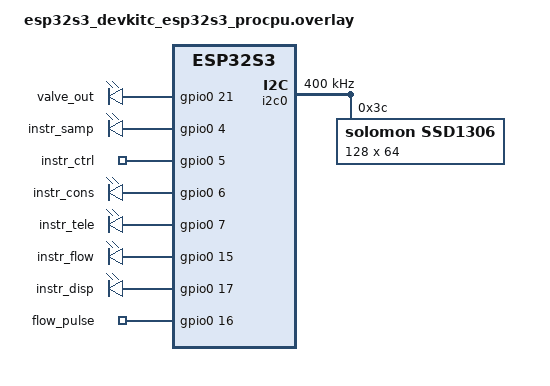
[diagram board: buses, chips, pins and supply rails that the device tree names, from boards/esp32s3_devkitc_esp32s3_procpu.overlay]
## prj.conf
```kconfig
CONFIG_GPIO=y
CONFIG_ADC=y
CONFIG_SERIAL=y
CONFIG_CONSOLE=y
CONFIG_UART_CONSOLE=y
CONFIG_MAIN_STACK_SIZE=1536
CONFIG_IDLE_STACK_SIZE=256
CONFIG_ISR_STACK_SIZE=512
CONFIG_SYSTEM_WORKQUEUE_STACK_SIZE=512

# Week 4 Task D: per-thread stack high-water marks, printed by the `threads` command
CONFIG_THREAD_NAME=y
CONFIG_THREAD_ANALYZER=y
CONFIG_THREAD_ANALYZER_USE_PRINTK=y
```

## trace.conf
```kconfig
# Week 5 tracing demo: CTF out of the UART jack, started by the capture script.
#   west build ... -- -DEXTRA_CONF_FILE=trace.conf -DEXTRA_DTC_OVERLAY_FILE=uart_trace.overlay
CONFIG_TRACING=y
CONFIG_TRACING_CTF=y
CONFIG_TRACING_BACKEND_UART=y
CONFIG_TRACING_HANDLE_HOST_CMD=y
# Fits the trace under the 4 Mbaud link (≈ 0.37 of its 0.39 MB/s); a k_msgq call
# still shows as the ready or pend it causes.
CONFIG_TRACING_SYSCALL=n
CONFIG_TRACING_TIMER=n
CONFIG_TRACING_MESSAGE_QUEUE=n
CONFIG_TRACING_IDLE=n
# The defaults drain 100 ms after the first event into a 2 KB buffer: at this node's
# rate that keeps one 4 ms slice in every 100 ms. 32 KB holds the first ≈ 75 ms of
# a calib, while the lowest-priority tracer can't drain (65536 streams nothing).
CONFIG_TRACING_THREAD_WAIT_THRESHOLD=1
CONFIG_TRACING_BUFFER_SIZE=32768
```

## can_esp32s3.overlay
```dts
/*
 * CAN (TWAI) link to the Hub, project weeks 11-14. The board's default TWAI pins
 * (GPIO5/6) are instr_ctrl and instr_cons, so CAN moves to GPIO10 (TX) and
 * GPIO11 (RX), wired to an SN65HVD230 transceiver.
 */

#include <zephyr/dt-bindings/pinctrl/esp32s3-pinctrl.h>

&pinctrl {
	twai_hub: twai_hub {
		group1 {
			pinmux = <TWAI_TX_GPIO10>,
				 <TWAI_RX_GPIO11>;
		};
	};
};

&twai {
	status = "okay";
	pinctrl-0 = <&twai_hub>;
	pinctrl-names = "default";
	bitrate = <500000>;
};
```

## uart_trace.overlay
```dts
/*
 * Week 5 tracing: the CTF stream leaves through the UART jack and the console moves
 * to the USB jack. The USB jack is the S3's USB-Serial-JTAG, whose driver sends one
 * byte per USB packet: about 60 KiB/s, an eighth of what this node's trace needs.
 */

/ {
	chosen {
		zephyr,console = &usb_serial;
		zephyr,shell-uart = &usb_serial;
		zephyr,tracing-uart = &uart0;
	};
};

&usb_serial {
	status = "okay";
};

/* 80 MHz / 20. A CP2102N bridge (the UART jack shows as /dev/ttyUSB*) stops at 3000000. */
&uart0 {
	current-speed = <4000000>;
};
```

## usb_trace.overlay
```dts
/*
 * Tracing goes out the devkit's USB jack (USB-Serial-JTAG, /dev/ttyACM0); the
 * console stays on the UART jack. uart1 is no alternative: the board routes its
 * TX to GPIO17, which is instr_disp.
 */

/ {
	chosen {
		zephyr,tracing-uart = &usb_serial;
	};
};

&usb_serial {
	status = "okay";
};
```

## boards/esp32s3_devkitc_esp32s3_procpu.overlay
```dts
/*
 * ESP32-S3-DevKitC-1 pin map. Only hardware description changes; the C does not.
 *
 * The six instrumentation pins sit together on the header so an 8-channel
 * analyzer ribbon clips on in one go.
 *
 * Pressure comes from the synthetic plant until the pot is wired: build with
 * -DEXTRA_DTC_OVERLAY_FILE=pot_esp32s3.overlay to read it from ADC1 instead.
 */

#include <zephyr/dt-bindings/gpio/gpio.h>
#include <zephyr/dt-bindings/i2c/i2c.h>

/ {
	aliases {
		led0 = &valve_out;
	};

	leds {
		compatible = "gpio-leds";
		valve_out: valve_out { gpios = <&gpio0 21 GPIO_ACTIVE_HIGH>; };
	};

	instr {
		compatible = "gpio-leds";
		instr_samp: instr_samp { gpios = <&gpio0 4 GPIO_ACTIVE_HIGH>; };
		instr_ctrl: instr_ctrl { gpios = <&gpio0 5 GPIO_ACTIVE_HIGH>; };
		instr_cons: instr_cons { gpios = <&gpio0 6 GPIO_ACTIVE_HIGH>; };
		instr_tele: instr_tele { gpios = <&gpio0 7 GPIO_ACTIVE_HIGH>; };
		instr_flow: instr_flow { gpios = <&gpio0 15 GPIO_ACTIVE_HIGH>; };
		instr_disp: instr_disp { gpios = <&gpio0 17 GPIO_ACTIVE_HIGH>; };
	};

	keys {
		compatible = "gpio-keys";
		flow_pulse: flow_pulse {
			gpios = <&gpio0 16 (GPIO_ACTIVE_HIGH | GPIO_PULL_DOWN)>;
		};
	};
};

/* Optional SSD1306 HMI (build with -DEXTRA_CONF_FILE=display.conf).
 * The board routes i2c0 to SDA GPIO1 / SCL GPIO2. */
&i2c0 {
	status = "okay";
	clock-frequency = <I2C_BITRATE_FAST>;

	ssd1306: ssd1306@3c {
		compatible = "solomon,ssd1306";
		reg = <0x3c>;
		width = <128>;
		height = <64>;
		segment-offset = <0>;
		page-offset = <0>;
		display-offset = <0>;
		multiplex-ratio = <63>;
		prechargep = <0x22>;
		segment-remap;
		com-invdir;
	};
};
```

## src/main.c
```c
/*
 * SoilSense Control — week 4: the full migration to the Zephyr kernel.
 * Every superloop task is a thread (or deferred work) with its own priority;
 * main only brings the hardware up and returns.
 *
 * The node's tasks (PROJECT_SCENARIO.md):
 *   sampling  (hard, 1 kHz)  — pressure ADC, e-stop check, valve PWM phase
 *   control   (hard, 10 ms)  — PI loop -> valve duty
 *   console   (firm)         — UART commands (help/status/joy/set/clear/calib)
 *   telemetry (soft, 1 Hz)   — CSV line over the console UART
 *   flow ISR  (hard)         — pulse counting on the flow input pin
 *
 * Every task raises its instrumentation GPIO on entry and drops it on exit:
 * the logic analyzer sees exactly who ran and for how long.
 */

#include <zephyr/kernel.h>
#include <zephyr/device.h>
#include <zephyr/drivers/gpio.h>
#include <zephyr/drivers/adc.h>
#include <zephyr/drivers/uart.h>
#include <zephyr/sys/atomic.h>
#include <zephyr/sys/util.h>
#include <zephyr/sys/printk.h>
#ifdef CONFIG_THREAD_ANALYZER
#include <zephyr/debug/thread_analyzer.h>
#endif
#ifdef CONFIG_CHARACTER_FRAMEBUFFER
#include <zephyr/drivers/display.h>
#include <zephyr/display/cfb.h>
#endif
#include <stdio.h>
#include <stdlib.h>
#include <string.h>

#define SAMPLE_PERIOD_US 1000  /* sampling: 1 kHz */
#define CONTROL_EVERY    10    /* control runs every 10th sample -> 10 ms */
#define TELEMETRY_MS     1000
#define PWM_STEPS        20    /* software PWM on the valve LED: 1 kHz / 20 = 50 Hz */
#define FLOW_BATCH       100   /* pulses accumulated before the batch math runs */
#define ESTOP_MV         3000  /* overpressure threshold */
#define CALIB_ROUNDS     1000  /* `calib` command: rounds of read + settle */
#define DISPLAY_MS       500   /* HMI refresh period */
#define ESTOP_HOLD       50    /* joystick-down samples (at 50 Hz) = 1 s hold */

/* ---- Hardware (all optional: missing DT nodes degrade to a synthetic rig) -- */

#define INSTR(node) GPIO_DT_SPEC_GET_OR(DT_NODELABEL(node), gpios, {0})
static const struct gpio_dt_spec instr_samp = INSTR(instr_samp);
static const struct gpio_dt_spec instr_ctrl = INSTR(instr_ctrl);
static const struct gpio_dt_spec instr_cons = INSTR(instr_cons);
static const struct gpio_dt_spec instr_tele = INSTR(instr_tele);
static const struct gpio_dt_spec instr_flow = INSTR(instr_flow);
static const struct gpio_dt_spec instr_disp = INSTR(instr_disp);
static const struct gpio_dt_spec valve_led =
	GPIO_DT_SPEC_GET_OR(DT_ALIAS(led0), gpios, {0});
static const struct gpio_dt_spec flow_pulse =
	GPIO_DT_SPEC_GET_OR(DT_NODELABEL(flow_pulse), gpios, {0});

#if DT_NODE_EXISTS(DT_PATH(zephyr_user)) && \
	DT_NODE_HAS_PROP(DT_PATH(zephyr_user), io_channels)
#define HAS_ADC 1
static const struct adc_dt_spec adc_joy =
	ADC_DT_SPEC_GET_BY_IDX(DT_PATH(zephyr_user), 0);
static const struct adc_dt_spec adc_pressure =
	ADC_DT_SPEC_GET_BY_IDX(DT_PATH(zephyr_user), 1);
#endif

#if DT_HAS_CHOSEN(zephyr_console)
static const struct device *const console_uart =
	DEVICE_DT_GET(DT_CHOSEN(zephyr_console));
#endif

#ifdef CONFIG_CHARACTER_FRAMEBUFFER
static const struct device *const disp = DEVICE_DT_GET_ANY(solomon_ssd1306);
#endif

static inline void instr_set(const struct gpio_dt_spec *p, int v)
{
	if (p->port) {
		gpio_pin_set_dt(p, v);
	}
}

/* ---- ISR side ------------------------------------------------------------- */

/* Sampling tick: the ISR queues the release time and returns; the sampling
 * thread wakes on it. Ticks still pile up here if the thread falls behind. */
K_MSGQ_DEFINE(tick_q, sizeof(uint32_t), 8, 4);
static atomic_t backlog_peak; /* worst backlog seen — `status` reports it */
static atomic_t lat_peak_us;  /* worst release -> thread start */
K_SEM_DEFINE(control_sem, 0, CONTROL_EVERY);

static void tick_isr(struct k_timer *t)
{
	uint32_t released = k_cycle_get_32();

	k_msgq_put(&tick_q, &released, K_NO_WAIT);

	atomic_val_t backlog = k_msgq_num_used_get(&tick_q);

	if (backlog > atomic_get(&backlog_peak)) {
		atomic_set(&backlog_peak, backlog);
	}
}
K_TIMER_DEFINE(tick_timer, tick_isr, NULL);

/* Flow pulses: counted in the ISR; each full batch is deferred to flow_wq. */
static atomic_t flow_pulses;
static struct gpio_callback flow_cb;
static struct k_work_q flow_wq;
static struct k_work flow_work;

static void flow_isr(const struct device *dev, struct gpio_callback *cb,
		     uint32_t pins)
{
	if (atomic_inc(&flow_pulses) + 1 >= FLOW_BATCH) {
		k_work_submit_to_queue(&flow_wq, &flow_work);
	}
}

/* ---- State ---------------------------------------------------------------- */

static int setpoint_mv = 1500;
static int pressure_mv;
static int joystick_mv = -1;
static int duty_pct;          /* valve command, 0-100 */
static int integral_mv;
static bool estop;
static float flow_lpm;        /* batch math result (float on purpose: no FPU) */
static uint32_t flow_batches;

enum page { PAGE_DASH, PAGE_FLOW, PAGE_HEALTH, PAGE_COUNT };
static int page;
static bool page_dirty = true;

/* ---- Inputs: ADC when the board wires it, a synthetic plant when not ------ */

#if HAS_ADC
static int adc_read_mv(const struct adc_dt_spec *spec)
{
	int16_t raw;
	struct adc_sequence seq = { .buffer = &raw, .buffer_size = sizeof(raw) };
	int32_t mv;

	adc_sequence_init_dt(spec, &seq);
	if (adc_read_dt(spec, &seq) < 0) {
		return -1;
	}
	mv = raw;
	adc_raw_to_millivolts_dt(spec, &mv);
	return mv;
}
#endif

/* Without a pot on the pressure channel (or on native_sim) the plant is
 * simulated: pressure drifts toward what the valve commands. */
static int plant_mv(void)
{
	static int mv = 1200;

	mv += (duty_pct * 33 - mv) / 64;
	mv += (int)(k_cycle_get_32() % 7) - 3;
	return mv;
}

static int read_pressure_mv(void)
{
#if HAS_ADC
	int mv = adc_read_mv(&adc_pressure);

	if (mv >= 0) {
		return mv;
	}
#endif
	return plant_mv();
}

static int read_joystick_mv(void)
{
#if HAS_ADC
	return adc_read_mv(&adc_joy);
#else
	return -1;
#endif
}

/* ---- Tasks ---------------------------------------------------------------- */

/* Joystick bands, single-ADC resistor ladder. Calibrate with `joy`. */
enum joy { JOY_NONE, JOY_UP, JOY_DOWN, JOY_LEFT, JOY_RIGHT, JOY_SEL };

static enum joy joy_decode(int mv)
{
	if (mv < 0) return JOY_NONE;
	if (mv < 300) return JOY_SEL;
	if (mv < 900) return JOY_DOWN;
	if (mv < 1600) return JOY_RIGHT;
	if (mv < 2300) return JOY_LEFT;
	if (mv < 3000) return JOY_UP;
	return JOY_NONE;
}

/* Joystick UX, sampled at 50 Hz: left/right turn HMI pages, up/down move the
 * setpoint on the dashboard, down *held* ~1 s is the e-stop, center clears it. */
static void joystick_update(void)
{
	static enum joy prev = JOY_NONE;
	static int down_held;

	joystick_mv = read_joystick_mv();
	enum joy j = joy_decode(joystick_mv);

	if (j == JOY_DOWN) {
		if (++down_held == ESTOP_HOLD) {
			estop = true;
			page_dirty = true;
		}
	} else {
		down_held = 0;
	}

	switch (j) {
	case JOY_UP: /* held = ramp */
		if (page == PAGE_DASH) {
			setpoint_mv = CLAMP(setpoint_mv + 10, 0, 3300);
			page_dirty = true;
		}
		break;
	case JOY_DOWN: /* single step per press; keep holding for e-stop */
		if (page == PAGE_DASH && j != prev) {
			setpoint_mv = CLAMP(setpoint_mv - 10, 0, 3300);
			page_dirty = true;
		}
		break;
	case JOY_LEFT:
		if (j != prev) {
			page = (page + PAGE_COUNT - 1) % PAGE_COUNT;
			page_dirty = true;
		}
		break;
	case JOY_RIGHT:
		if (j != prev) {
			page = (page + 1) % PAGE_COUNT;
			page_dirty = true;
		}
		break;
	case JOY_SEL:
		estop = false;
		integral_mv = 0;
		page_dirty = true;
		break;
	default:
		break;
	}
	prev = j;
}

static void task_sampling(void)
{
	static int pwm_phase;
	static int joy_div;

	instr_set(&instr_samp, 1);

	pressure_mv = read_pressure_mv();

	/* e-stop condition is *detected* here, at 1 kHz... */
	if (pressure_mv > ESTOP_MV) {
		estop = true; /* ...but the valve only reacts when control runs */
	}

	/* joystick, decimated to 50 Hz */
	if (++joy_div >= 20) {
		joy_div = 0;
		joystick_update();
	}

	/* software PWM on the valve */
	pwm_phase = (pwm_phase + 1) % PWM_STEPS;
	if (valve_led.port) {
		gpio_pin_set_dt(&valve_led,
				pwm_phase < (duty_pct * PWM_STEPS) / 100);
	}

	instr_set(&instr_samp, 0);
}

static void task_control(void)
{
	instr_set(&instr_ctrl, 1);

	if (estop) {
		duty_pct = 0;
	} else {
		int error = setpoint_mv - pressure_mv;

		integral_mv += error / 8;
		integral_mv = CLAMP(integral_mv, -2000, 2000);
		duty_pct = CLAMP((error + integral_mv) / 20, 0, 100);
	}

	instr_set(&instr_ctrl, 0);
}

/* Every FLOW_BATCH pulses: convert the accumulated count to L/min and smooth
 * it. Float math on flow_wq, soft-float (CONFIG_FPU is off). */
static void task_flow_batch(void)
{
	if (atomic_get(&flow_pulses) < FLOW_BATCH) {
		return;
	}
	instr_set(&instr_flow, 1);

	float pulses = (float)atomic_clear(&flow_pulses);
	float lpm = pulses / 5880.0f * 60.0f; /* YF-S401: 5880 pulses/L */

	for (int i = 0; i < 50; i++) {
		flow_lpm = flow_lpm * 0.9f + lpm * 0.1f;
	}
	flow_batches++;

	instr_set(&instr_flow, 0);
}

static void task_telemetry(void)
{
	static int64_t next_ms;
	char line[96];

	if (k_uptime_get() < next_ms) {
		return;
	}
	next_ms += TELEMETRY_MS;
	instr_set(&instr_tele, 1);

	snprintf(line, sizeof(line),
		 "t=%u p_mv=%d sp_mv=%d duty=%d flow_x100=%d estop=%d backlog=%ld",
		 (unsigned int)k_uptime_get(), pressure_mv, setpoint_mv, duty_pct,
		 (int)(flow_lpm * 100.0f), (int)estop,
		 (long)atomic_get(&backlog_peak));
	printk("%s\n", line); /* polled UART: ~7 ms of blocking at 115200 */

	instr_set(&instr_tele, 0);
}

/* ---- Display (soft "HMI"): SSD1306 pages, redrawn whole ------------------- */

#ifdef CONFIG_CHARACTER_FRAMEBUFFER
static void task_display(void)
{
	static int64_t next_ms;
	static bool ready;
	char line[24];

	if (disp == NULL) {
		return;
	}
	if (!ready) {
		if (!device_is_ready(disp) || cfb_framebuffer_init(disp) != 0) {
			return;
		}
		display_blanking_off(disp);
		ready = true;
	}
	if (!page_dirty && k_uptime_get() < next_ms) {
		return;
	}
	next_ms = k_uptime_get() + DISPLAY_MS;
	page_dirty = false;

	instr_set(&instr_disp, 1);
	cfb_framebuffer_clear(disp, false);
	switch (page) {
	case PAGE_DASH:
		snprintf(line, sizeof(line), "P %4d>%4dmV", pressure_mv,
			 setpoint_mv);
		cfb_print(disp, line, 0, 0);
		snprintf(line, sizeof(line), "duty %3d%% %s", duty_pct,
			 estop ? "ESTOP" : "");
		cfb_print(disp, line, 0, 16);
		cfb_print(disp, "1/3 dash", 0, 48);
		break;
	case PAGE_FLOW:
		snprintf(line, sizeof(line), "flow %d.%02d L/m",
			 (int)flow_lpm, (int)(flow_lpm * 100.0f) % 100);
		cfb_print(disp, line, 0, 0);
		snprintf(line, sizeof(line), "batches %u", flow_batches);
		cfb_print(disp, line, 0, 16);
		cfb_print(disp, "2/3 flow", 0, 48);
		break;
	case PAGE_HEALTH:
		snprintf(line, sizeof(line), "up %us",
			 (unsigned int)(k_uptime_get() / 1000));
		cfb_print(disp, line, 0, 0);
		snprintf(line, sizeof(line), "backlog pk %ld",
			 (long)atomic_get(&backlog_peak));
		cfb_print(disp, line, 0, 16);
		cfb_print(disp, "3/3 health", 0, 48);
		break;
	}
	/* the whole 1 KB frame goes over I2C here, char by char: blocking */
	cfb_framebuffer_finalize(disp);
	instr_set(&instr_disp, 0);
}
#else
static void task_display(void)
{
}
#endif

/* ---- Console (firm): poll chars, run a full command synchronously --------- */

static void cmd_calib(void)
{
	printk("calibrating zero-flow offset (%d rounds)...\n", CALIB_ROUNDS);
	for (int i = 0; i < CALIB_ROUNDS; i++) {
		(void)read_pressure_mv();
		k_busy_wait(400); /* sensor settling time between reads */
	}
	printk("calibration done\n");
}

static void console_handle(char *line)
{
	if (strcmp(line, "help") == 0) {
		printk("commands: help status joy set <mv> clear calib threads\n");
	} else if (strcmp(line, "status") == 0) {
		printk("p=%d mV sp=%d mV duty=%d%% flow_x100=%d estop=%d "
		       "batches=%u backlog_peak=%ld lat_peak_us=%ld\n",
		       pressure_mv, setpoint_mv, duty_pct,
		       (int)(flow_lpm * 100.0f), (int)estop, flow_batches,
		       (long)atomic_get(&backlog_peak),
		       (long)atomic_get(&lat_peak_us));
	} else if (strcmp(line, "joy") == 0) {
		printk("joystick raw: %d mV\n", joystick_mv);
	} else if (strncmp(line, "set ", 4) == 0) {
		setpoint_mv = CLAMP(atoi(line + 4), 0, 3300);
		printk("setpoint = %d mV\n", setpoint_mv);
	} else if (strcmp(line, "clear") == 0) {
		estop = false;
		integral_mv = 0;
		printk("e-stop cleared\n");
	} else if (strcmp(line, "calib") == 0) {
		cmd_calib();
#ifdef CONFIG_THREAD_ANALYZER
	} else if (strcmp(line, "threads") == 0) {
		thread_analyzer_print(0);
#endif
	} else if (line[0] != '\0') {
		printk("? (try: help)\n");
	}
}

static void task_console(void)
{
	static char buf[32];
	static size_t len;
	unsigned char c;

#if DT_HAS_CHOSEN(zephyr_console)
	while (uart_poll_in(console_uart, &c) == 0) {
		instr_set(&instr_cons, 1);
		if (c == '\r' || c == '\n') {
			buf[len] = '\0';
			printk("\n");
			console_handle(buf);
			len = 0;
		} else if (len < sizeof(buf) - 1) {
			buf[len++] = c;
			printk("%c", c);
		}
		instr_set(&instr_cons, 0);
	}
#endif
}

/* ---- Threads ------------------------------------------------------------- */

/* Rate-monotonic order: the shorter the period, the more important. `main`
 * keeps the default priority 0, so it finishes bring-up before any of these
 * runs. */
#define SAMPLING_PRIO  2
#define CONTROL_PRIO   3
#define FLOW_WQ_PRIO   5
#define DISPLAY_PRIO   7
#define TELEMETRY_PRIO 8
#define CONSOLE_PRIO   9

#define CONSOLE_POLL_MS 5  /* the S3's 128-byte RX FIFO holds ~11 ms at 115200 */
#define DISPLAY_POLL_MS 50

static void sampling_thread(void *p1, void *p2, void *p3)
{
	uint32_t released;
	int control_div = 0;

	while (1) {
		k_msgq_get(&tick_q, &released, K_FOREVER);

		atomic_val_t lat = k_cyc_to_us_floor32(k_cycle_get_32() - released);

		if (lat > atomic_get(&lat_peak_us)) {
			atomic_set(&lat_peak_us, lat);
		}

		task_sampling();
		if (++control_div >= CONTROL_EVERY) {
			control_div = 0;
			k_sem_give(&control_sem);
		}
	}
}
K_THREAD_DEFINE(sampling_tid, 1536, sampling_thread, NULL, NULL, NULL,
		SAMPLING_PRIO, 0, 0);

static void control_thread(void *p1, void *p2, void *p3)
{
	while (1) {
		k_sem_take(&control_sem, K_FOREVER);
		task_control();
	}
}
K_THREAD_DEFINE(control_tid, 1024, control_thread, NULL, NULL, NULL,
		CONTROL_PRIO, 0, 0);

static void display_thread(void *p1, void *p2, void *p3)
{
	while (1) {
		task_display();
		k_msleep(DISPLAY_POLL_MS);
	}
}
K_THREAD_DEFINE(display_tid, 2048, display_thread, NULL, NULL, NULL,
		DISPLAY_PRIO, 0, 0);

static void telemetry_thread(void *p1, void *p2, void *p3)
{
	int64_t next_ms = k_uptime_get();

	while (1) {
		task_telemetry();
		next_ms += TELEMETRY_MS;
		k_sleep(K_TIMEOUT_ABS_MS(next_ms));
	}
}
K_THREAD_DEFINE(telemetry_tid, 2048, telemetry_thread, NULL, NULL, NULL,
		TELEMETRY_PRIO, 0, 0);

/* Polls, then sleeps: a console that spun here would starve idle. */
static void console_thread(void *p1, void *p2, void *p3)
{
	while (1) {
		task_console();
		k_msleep(CONSOLE_POLL_MS);
	}
}
K_THREAD_DEFINE(console_tid, 2048, console_thread, NULL, NULL, NULL,
		CONSOLE_PRIO, 0, 0);

/* Its own queue, not the system one: that runs at priority -1 (cooperative)
 * and would hold sampling off for the whole batch. */
K_THREAD_STACK_DEFINE(flow_wq_stack, 1024);

static void flow_work_fn(struct k_work *work)
{
	task_flow_batch();
}

/* ---- Bring-up ------------------------------------------------------------ */

static void init_hw(void)
{
	const struct gpio_dt_spec *outs[] = { &instr_samp, &instr_ctrl,
					      &instr_cons, &instr_tele,
					      &instr_flow, &instr_disp,
					      &valve_led };

	for (size_t i = 0; i < ARRAY_SIZE(outs); i++) {
		if (outs[i]->port) {
			gpio_pin_configure_dt(outs[i], GPIO_OUTPUT_INACTIVE);
		}
	}
#if HAS_ADC
	adc_channel_setup_dt(&adc_joy);
	adc_channel_setup_dt(&adc_pressure);
#endif
	if (flow_pulse.port) {
		gpio_pin_configure_dt(&flow_pulse, GPIO_INPUT);
		gpio_pin_interrupt_configure_dt(&flow_pulse,
						GPIO_INT_EDGE_TO_ACTIVE);
		gpio_init_callback(&flow_cb, flow_isr, BIT(flow_pulse.pin));
		gpio_add_callback(flow_pulse.port, &flow_cb);
	}
}

int main(void)
{
	const struct k_work_queue_config flow_wq_cfg = { .name = "flow_wq" };

	k_work_queue_start(&flow_wq, flow_wq_stack,
			   K_THREAD_STACK_SIZEOF(flow_wq_stack), FLOW_WQ_PRIO,
			   &flow_wq_cfg);
	k_work_init(&flow_work, flow_work_fn);
	init_hw();
	printk("SoilSense Control — kernel build (%s)\n", CONFIG_BOARD);
	printk("type 'help'\n");

	k_timer_start(&tick_timer, K_USEC(SAMPLE_PERIOD_US),
		      K_USEC(SAMPLE_PERIOD_US));
	return 0;
}
```
